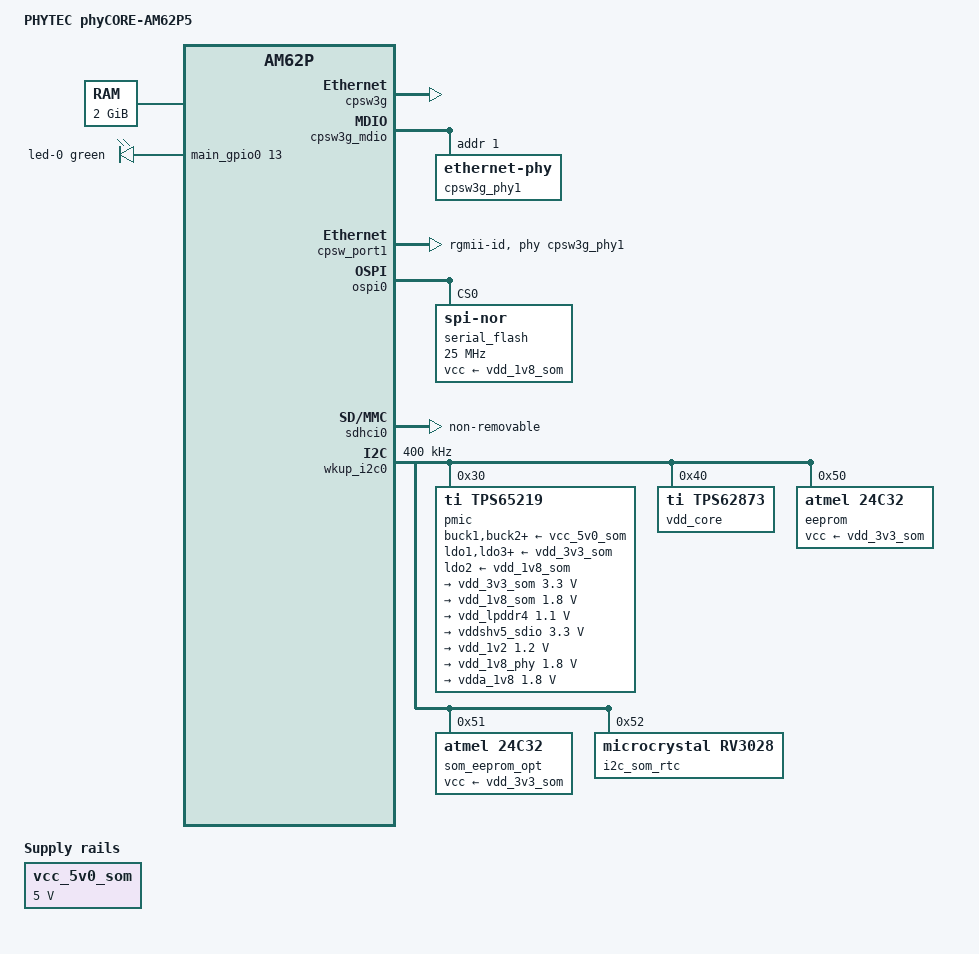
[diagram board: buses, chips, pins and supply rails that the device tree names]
// SPDX-License-Identifier: GPL-2.0-only OR MIT
/*
 * Copyright (C) 2026 PHYTEC America LLC
 * Author: John Ma <jma@phytec.com>
 *
 */

#include <dt-bindings/gpio/gpio.h>
#include <dt-bindings/leds/common.h>
#include <dt-bindings/net/ti-dp83867.h>

/ {
	model = "PHYTEC phyCORE-AM62P5";
	compatible = "phytec,am62p-phycore-som", "ti,am62p5";

	aliases {
		ethernet0 = &cpsw_port1;
		gpio0 = &main_gpio0;
		gpio1 = &main_gpio1;
		i2c0 = &wkup_i2c0;
		mmc0 = &sdhci0;
		rtc0 = &i2c_som_rtc;
		rtc1 = &wkup_rtc0;
		spi0 = &ospi0;
	};

	memory@80000000 {
		/* 2G RAM */
		reg = <0x00000000 0x80000000 0x00000000 0x80000000>;
		device_type = "memory";
		bootph-all;
	};

	reserved_memory: reserved-memory {
		#address-cells = <2>;
		#size-cells = <2>;
		ranges;

		wkup_r5fss0_core0_dma_memory_region: memory@9c800000 {
			compatible = "shared-dma-pool";
			reg = <0x00 0x9c800000 0x00 0x100000>;
			no-map;
		};

		wkup_r5fss0_core0_memory_region: memory@9c900000 {
			compatible = "shared-dma-pool";
			reg = <0x00 0x9c900000 0x00 0x1e00000>;
			no-map;
		};

		secure_tfa_ddr: tfa@9e780000 {
			reg = <0x00 0x9e780000 0x00 0x80000>;
			no-map;
		};

		secure_ddr: optee@9e800000 {
			reg = <0x00 0x9e800000 0x00 0x01800000>; /* for OP-TEE */
			no-map;
		};
	};

	vcc_5v0_som: regulator-vcc-5v0-som {
		compatible = "regulator-fixed";
		regulator-name = "VCC_5V0_SOM";
		regulator-min-microvolt = <5000000>;
		regulator-max-microvolt = <5000000>;
		regulator-always-on;
		regulator-boot-on;
	};

	leds {
		compatible = "gpio-leds";
		pinctrl-names = "default";
		pinctrl-0 = <&leds_pins_default>;

		led-0 {
			color = <LED_COLOR_ID_GREEN>;
			gpios = <&main_gpio0 13 GPIO_ACTIVE_HIGH>;
			linux,default-trigger = "heartbeat";
			function = LED_FUNCTION_HEARTBEAT;
		};
	};

	opp-table {
		/* Requires VDD_CORE at 0v85 */
		opp-1400000000 {
			opp-hz = /bits/ 64 <1400000000>;
			opp-supported-hw = <0x01 0x0004>;
			clock-latency-ns = <6000000>;
		};
	};
};

&main_pmx0 {
	leds_pins_default: leds-default-pins {
		pinctrl-single,pins = <
			AM62PX_IOPAD(0x0034, PIN_OUTPUT, 7) /* (L22) OSPI0_CSn2.GPIO0_13 */
		>;
	};

	main_mdio0_pins_default: main-mdio0-default-pins {
		pinctrl-single,pins = <
			AM62PX_IOPAD(0x0160, PIN_OUTPUT_PULLUP, 0) /* (F17) MDIO0_MDC */
			AM62PX_IOPAD(0x015c, PIN_INPUT_PULLUP, 0) /* (F16) MDIO0_MDIO */
		>;
		bootph-all;
	};

	main_rgmii1_pins_default: main-rgmii1-default-pins {
		pinctrl-single,pins = <
			AM62PX_IOPAD(0x014c, PIN_INPUT, 0) /* (B15) RGMII1_RD0 */
			AM62PX_IOPAD(0x0150, PIN_INPUT, 0) /* (B16) RGMII1_RD1 */
			AM62PX_IOPAD(0x0154, PIN_INPUT, 0) /* (A14) RGMII1_RD2 */
			AM62PX_IOPAD(0x0158, PIN_INPUT, 0) /* (B14) RGMII1_RD3 */
			AM62PX_IOPAD(0x0148, PIN_INPUT, 0) /* (A16) RGMII1_RXC */
			AM62PX_IOPAD(0x0144, PIN_INPUT, 0) /* (A15) RGMII1_RX_CTL */
			AM62PX_IOPAD(0x0134, PIN_INPUT, 0) /* (A18) RGMII1_TD0 */
			AM62PX_IOPAD(0x0138, PIN_INPUT, 0) /* (C17) RGMII1_TD1 */
			AM62PX_IOPAD(0x013c, PIN_INPUT, 0) /* (A17) RGMII1_TD2 */
			AM62PX_IOPAD(0x0140, PIN_INPUT, 0) /* (C16) RGMII1_TD3 */
			AM62PX_IOPAD(0x0130, PIN_INPUT, 0) /* (B17) RGMII1_TXC */
			AM62PX_IOPAD(0x012c, PIN_INPUT, 0) /* (B18) RGMII1_TX_CTL */
		>;
		bootph-all;
	};

	ospi0_pins_default: ospi0-default-pins {
		pinctrl-single,pins = <
			AM62PX_IOPAD(0x0000, PIN_OUTPUT, 0) /* (P23) OSPI0_CLK */
			AM62PX_IOPAD(0x002c, PIN_OUTPUT, 0) /* (M25) OSPI0_CSn0 */
			AM62PX_IOPAD(0x000c, PIN_INPUT, 0) /* (L25) OSPI0_D0 */
			AM62PX_IOPAD(0x0010, PIN_INPUT, 0) /* (N24) OSPI0_D1 */
			AM62PX_IOPAD(0x0014, PIN_INPUT, 0) /* (N25) OSPI0_D2 */
			AM62PX_IOPAD(0x0018, PIN_INPUT, 0) /* (M24) OSPI0_D3 */
			AM62PX_IOPAD(0x001c, PIN_INPUT, 0) /* (N21) OSPI0_D4 */
			AM62PX_IOPAD(0x0020, PIN_INPUT, 0) /* (N22) OSPI0_D5 */
			AM62PX_IOPAD(0x0024, PIN_INPUT, 0) /* (P21) OSPI0_D6 */
			AM62PX_IOPAD(0x0028, PIN_INPUT, 0) /* (N20) OSPI0_D7 */
			AM62PX_IOPAD(0x0008, PIN_INPUT, 0) /* (P22) OSPI0_DQS */
		>;
		bootph-all;
	};

	pmic_irq_pins_default: pmic-irq-default-pins {
		pinctrl-single,pins = <
			AM62PX_IOPAD(0x01f4, PIN_INPUT, 0) /* (C23) EXTINTn */
		>;
	};
};

&mcu_pmx0 {
	wkup_i2c0_pins_default: wkup-i2c0-default-pins {
		pinctrl-single,pins = <
			AM62PX_MCU_IOPAD(0x04c, PIN_INPUT_PULLUP, 0) /* (A13) WKUP_I2C0_SCL */
			AM62PX_MCU_IOPAD(0x050, PIN_INPUT_PULLUP, 0) /* (C11) WKUP_I2C0_SDA */
		>;
		bootph-all;
	};
};

&cpsw3g {
	pinctrl-names = "default";
	pinctrl-0 = <&main_rgmii1_pins_default>;
	bootph-all;
	status = "okay";
};

&cpsw3g_mdio {
	pinctrl-names = "default";
	pinctrl-0 = <&main_mdio0_pins_default>;
	status = "okay";

	cpsw3g_phy1: ethernet-phy@1 {
		reg = <1>;
		bootph-all;
		tx-fifo-depth = <DP83867_PHYCR_FIFO_DEPTH_4_B_NIB>;
		ti,min-output-impedance;
		ti,rx-internal-delay = <DP83867_RGMIIDCTL_2_00_NS>;
	};
};

&cpsw_port1 {
	phy-mode = "rgmii-id";
	phy-handle = <&cpsw3g_phy1>;
	bootph-all;
	status = "okay";
};

&fss {
	bootph-all;
};

&ospi0 {
	pinctrl-names = "default";
	pinctrl-0 = <&ospi0_pins_default>;
	status = "okay";

	serial_flash: flash@0 {
		compatible = "jedec,spi-nor";
		reg = <0x0>;
		spi-tx-bus-width = <8>;
		spi-rx-bus-width = <8>;
		spi-max-frequency = <25000000>;
		vcc-supply = <&vdd_1v8_som>;
		cdns,tshsl-ns = <60>;
		cdns,tsd2d-ns = <60>;
		cdns,tchsh-ns = <60>;
		cdns,tslch-ns = <60>;
		cdns,read-delay = <0>;
		bootph-all;
	};
};

&sdhci0 {
	non-removable;
	bootph-all;
	ti,driver-strength-ohm = <50>;
	status = "okay";
};

&wkup_i2c0 {
	pinctrl-names = "default";
	pinctrl-0 = <&wkup_i2c0_pins_default>;
	clock-frequency = <400000>;
	bootph-all;
	status = "okay";

	pmic@30 {
		compatible = "ti,tps65219";
		reg = <0x30>;
		buck1-supply = <&vcc_5v0_som>;
		buck2-supply = <&vcc_5v0_som>;
		buck3-supply = <&vcc_5v0_som>;
		ldo1-supply = <&vdd_3v3_som>;
		ldo2-supply = <&vdd_1v8_som>;
		ldo3-supply = <&vdd_3v3_som>;
		ldo4-supply = <&vdd_3v3_som>;

		pinctrl-names = "default";
		pinctrl-0 = <&pmic_irq_pins_default>;
		interrupt-parent = <&gic500>;
		interrupts = <GIC_SPI 224 IRQ_TYPE_LEVEL_HIGH>;
		interrupt-controller;
		#interrupt-cells = <1>;

		system-power-controller;
		ti,power-button;

		regulators {
			vdd_3v3_som: buck1 {
				regulator-name = "VDD_3V3_SOM";
				regulator-min-microvolt = <3300000>;
				regulator-max-microvolt = <3300000>;
				regulator-boot-on;
				regulator-always-on;
			};

			vdd_1v8_som: buck2 {
				regulator-name = "VDD_1V8_SOM";
				regulator-min-microvolt = <1800000>;
				regulator-max-microvolt = <1800000>;
				regulator-boot-on;
				regulator-always-on;
			};

			vdd_lpddr4: buck3 {
				regulator-name = "VDD_LPDDR4";
				regulator-min-microvolt = <1100000>;
				regulator-max-microvolt = <1100000>;
				regulator-boot-on;
				regulator-always-on;
			};

			vddshv5_sdio: ldo1 {
				regulator-name = "VDDSHV5_SDIO";
				regulator-min-microvolt = <3300000>;
				regulator-max-microvolt = <3300000>;
				regulator-allow-bypass;
				regulator-boot-on;
				regulator-always-on;
			};

			vdd_1v2: ldo2 {
				regulator-name = "VDD_1V2";
				regulator-min-microvolt = <1200000>;
				regulator-max-microvolt = <1200000>;
				regulator-boot-on;
				regulator-always-on;
			};

			vdd_1v8_phy: ldo3 {
				regulator-name = "VDD_1V8_PHY";
				regulator-min-microvolt = <1800000>;
				regulator-max-microvolt = <1800000>;
				regulator-boot-on;
				regulator-always-on;
			};

			vdda_1v8: ldo4 {
				regulator-name = "VDDA_1V8";
				regulator-min-microvolt = <1800000>;
				regulator-max-microvolt = <1800000>;
				regulator-boot-on;
				regulator-always-on;
			};
		};
	};

	vdd_core: regulator-vdd-core@40 {
		compatible = "ti,tps62873";
		reg = <0x40>;
		bootph-pre-ram;
		regulator-name = "VDD_CORE";
		regulator-min-microvolt = <850000>;
		regulator-max-microvolt = <850000>;
		regulator-boot-on;
		regulator-always-on;
	};

	eeprom@50 {
		compatible = "atmel,24c32";
		pagesize = <32>;
		reg = <0x50>;
		vcc-supply = <&vdd_3v3_som>;
	};

	som_eeprom_opt: eeprom@51 {
		compatible = "atmel,24c32";
		pagesize = <32>;
		reg = <0x51>;
		vcc-supply = <&vdd_3v3_som>;
	};

	i2c_som_rtc: rtc@52 {
		compatible = "microcrystal,rv3028";
		reg = <0x52>;
	};
};

#include "k3-am62p-ti-ipc-firmware.dtsi"
